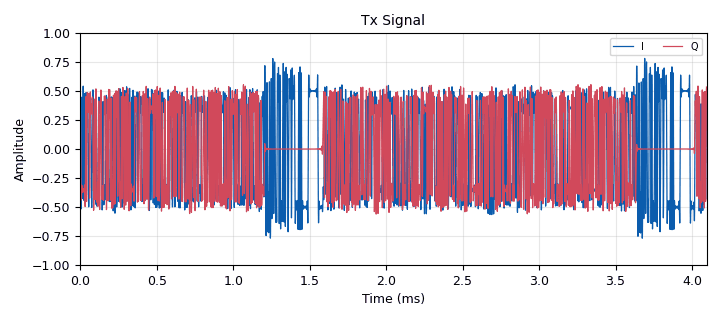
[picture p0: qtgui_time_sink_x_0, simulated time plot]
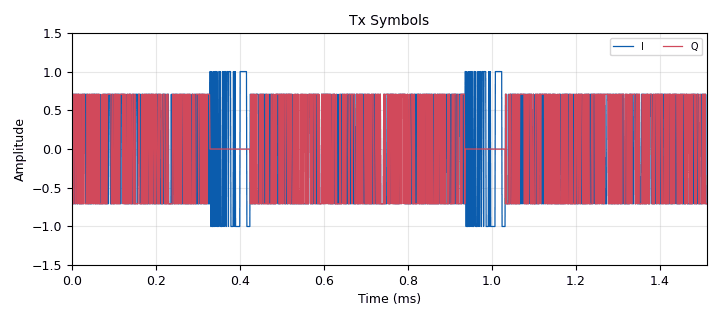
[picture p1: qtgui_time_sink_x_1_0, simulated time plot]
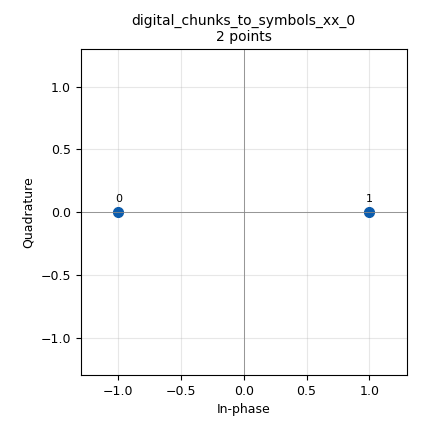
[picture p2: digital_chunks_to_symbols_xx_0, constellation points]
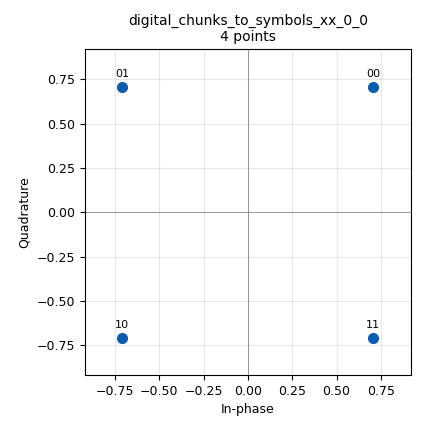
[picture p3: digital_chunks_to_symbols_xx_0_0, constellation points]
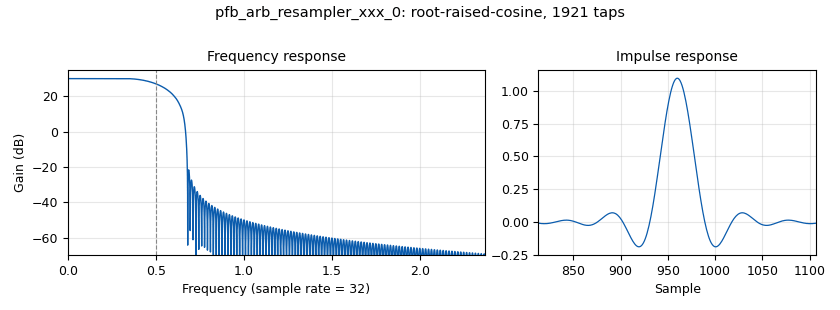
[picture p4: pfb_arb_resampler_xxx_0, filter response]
options:
  parameters:
    category: Custom
    generate_options: qt_gui
    id: Tx_Base
    output_language: python
    title: Tx_Base
  states: {}

blocks:
- name: d
  id: variable
  parameters:
    value: 1/(2**(1/2))
  states: {}
- name: eb
  id: variable
  parameters:
    value: '0.35'
  states: {}
- name: filt_delay
  id: variable
  parameters:
    value: int(1+(taps_per_filt-1)//2)
  states: {}
- name: freq
  id: variable
  parameters:
    value: 800e6
  states: {}
- name: freq_offset
  id: variable_qtgui_range
  parameters:
    gui_hint: 'controls@0: 1,1,1,1'
    label: Frequency Offset
    start: '-0.1'
    step: '0.001'
    stop: '0.1'
    value: '0'
  states: {}
- name: gain_tx
  id: variable
  parameters:
    value: '30'
  states: {}
- name: nfilts
  id: variable
  parameters:
    value: '32'
  states: {}
- name: noise_volt
  id: variable_qtgui_range
  parameters:
    gui_hint: 'controls@0: 1,0,1,1'
    label: Noise Voltage
    start: '0'
    step: '0.01'
    stop: '2'
    value: '0'
  states: {}
- name: pld_const
  id: variable_constellation_rect
  parameters:
    const_points: '[d+d*1j, -d+d*1j,-d-d*1j, d-d*1j]'
    imag_sect: '2'
    real_sect: '2'
    rot_sym: '4'
    sym_map: '[0, 1, 3, 2]'
    w_imag_sect: '1'
    w_real_sect: '1'
  states: {}
- name: psf_taps
  id: variable_rrc_filter_taps
  parameters:
    alpha: eb
    gain: nfilts
    ntaps: 15*sps*nfilts
    samp_rate: nfilts
    sym_rate: '1.0'
  states: {}
- name: samp_rate
  id: variable
  parameters:
    value: 1e6
  states: {}
- name: sps
  id: variable
  parameters:
    value: '4'
  states: {}
- name: taps
  id: variable
  parameters:
    value: '[0.9,0,0,0,0.436]'
  states: {}
- name: taps_per_filt
  id: variable
  parameters:
    value: int(len(psf_taps)/nfilts)
  states: {}
- name: analog_random_source_x_0
  id: analog_random_source_x
  parameters:
    max: '256'
    min: '0'
    num_samps: '10000000'
    repeat: 'True'
    type: byte
  states: {}
- name: blocks_multiply_const_vxx_0
  id: blocks_multiply_const_vxx
  parameters:
    const: '0.5'
    type: complex
  states: {}
- name: blocks_repack_bits_bb_0
  id: blocks_repack_bits_bb
  parameters:
    endianness: gr.GR_MSB_FIRST
    k: '8'
    l: hdr_const.bits_per_symbol()
    len_tag_key: packet_len
  states: {}
- name: blocks_repack_bits_bb_0_0
  id: blocks_repack_bits_bb
  parameters:
    endianness: gr.GR_MSB_FIRST
    k: '8'
    l: pld_const.bits_per_symbol()
    len_tag_key: packet_len
  states: {}
- name: blocks_stream_to_tagged_stream_0
  id: blocks_stream_to_tagged_stream
  parameters:
    len_tag_key: '"packet_len"'
    packet_len: '124'
    type: byte
  states: {}
- name: blocks_tagged_stream_multiply_length_0
  id: blocks_tagged_stream_multiply_length
  parameters:
    c: sps
    lengthtagname: packet_len
    type: complex
  states: {}
- name: blocks_tagged_stream_mux_0
  id: blocks_tagged_stream_mux
  parameters:
    lengthtagname: packet_len
    ninputs: '2'
    type: complex
  states: {}
- name: channels_channel_model_0
  id: channels_channel_model
  parameters:
    epsilon: '1'
    freq_offset: freq_offset
    noise_voltage: noise_volt
    seed: '0'
    taps: '1'
  states: {}
- name: controls
  id: qtgui_tab_widget
  parameters:
    gui_hint: 0,0,1,2
    label0: TX
    num_tabs: '1'
  states: {}
- name: digital_chunks_to_symbols_xx_0
  id: digital_chunks_to_symbols_xx
  parameters:
    dimension: '1'
    in_type: byte
    out_type: complex
    symbol_table: hdr_const.points()
  states: {}
- name: digital_chunks_to_symbols_xx_0_0
  id: digital_chunks_to_symbols_xx
  parameters:
    dimension: '1'
    in_type: byte
    out_type: complex
    symbol_table: pld_const.points()
  states: {}
- name: digital_crc32_bb_0
  id: digital_crc32_bb
  parameters:
    check: 'False'
    lengthtagname: '"packet_len"'
    packed: 'True'
  states: {}
- name: digital_diff_encoder_bb_0
  id: digital_diff_encoder_bb
  parameters:
    modulus: len(hdr_const.points())
  states: {}
- name: digital_diff_encoder_bb_0_0
  id: digital_diff_encoder_bb
  parameters:
    modulus: len(pld_const.points())
  states: {}
- name: digital_protocol_formatter_bb_0
  id: digital_protocol_formatter_bb
  parameters:
    format: hdr_format
    len_tag_key: '"packet_len"'
  states: {}
- name: hdr_const
  id: parameter
  parameters:
    label: Header constellation
    value: digital.constellation_calcdist((digital.psk_2()[0]), (digital.psk_2()[1]), 2, 1).base()
  states: {}
- name: hdr_format
  id: parameter
  parameters:
    label: Header Formatter
    value: digital.header_format_default(digital.packet_utils.default_access_code, 0,2)
  states: {}
- name: pfb_arb_resampler_xxx_0
  id: pfb_arb_resampler_xxx
  parameters:
    atten: '100'
    nfilts: nfilts
    rrate: sps
    samp_delay: filt_delay
    taps: psf_taps
    type: ccf
  states: {}
- name: qtgui_time_sink_x_0
  id: qtgui_time_sink_x
  parameters:
    grid: 'True'
    gui_hint: 1,1,1,1
    label1: I
    label2: Q
    name: '"Tx Signal"'
    size: 1024*4
    srate: 1e6
    type: complex
  states: {}
- name: qtgui_time_sink_x_1_0
  id: qtgui_time_sink_x
  parameters:
    grid: 'True'
    gui_hint: 1,0,1,1
    label1: I
    label2: Q
    name: '"Tx Symbols"'
    size: '1512'
    srate: samp_rate
    type: complex
    ymax: '1.5'
    ymin: '-1.5'
  states: {}
- name: uhd_usrp_sink_0
  id: uhd_usrp_sink
  parameters:
    ant0: '"TX/RX"'
    center_freq0: freq
    clock_rate: '0.0'
    dev_addr: '"serial=30F9A69"'
    dev_args: '""'
    gain0: gain_tx
    len_tag_name: ''
    samp_rate: samp_rate
    sync: sync
    type: fc32
  states: {}
- name: virtual_sink_0
  id: virtual_sink
  parameters:
    stream_id: Header Bytes
  states: {}
- name: virtual_sink_0_0_0
  id: virtual_sink
  parameters:
    stream_id: Payload Bytes
  states: {}
- name: virtual_sink_0_1
  id: virtual_sink
  parameters:
    stream_id: Tx Symbols
  states: {}
- name: virtual_source_0
  id: virtual_source
  parameters:
    stream_id: Header Bytes
  states: {}
- name: virtual_source_0_0
  id: virtual_source
  parameters:
    stream_id: Payload Bytes
  states: {}
- name: virtual_source_0_1
  id: virtual_source
  parameters:
    stream_id: Tx Symbols
  states: {}

connections:
- [analog_random_source_x_0, '0', blocks_stream_to_tagged_stream_0, '0']
- [blocks_multiply_const_vxx_0, '0', qtgui_time_sink_x_0, '0']
- [blocks_multiply_const_vxx_0, '0', uhd_usrp_sink_0, '0']
- [blocks_repack_bits_bb_0, '0', digital_diff_encoder_bb_0, '0']
- [blocks_repack_bits_bb_0_0, '0', digital_diff_encoder_bb_0_0, '0']
- [blocks_stream_to_tagged_stream_0, '0', digital_crc32_bb_0, '0']
- [blocks_tagged_stream_multiply_length_0, '0', channels_channel_model_0, '0']
- [blocks_tagged_stream_mux_0, '0', qtgui_time_sink_x_1_0, '0']
- [blocks_tagged_stream_mux_0, '0', virtual_sink_0_1, '0']
- [channels_channel_model_0, '0', blocks_multiply_const_vxx_0, '0']
- [digital_chunks_to_symbols_xx_0, '0', blocks_tagged_stream_mux_0, '0']
- [digital_chunks_to_symbols_xx_0_0, '0', blocks_tagged_stream_mux_0, '1']
- [digital_crc32_bb_0, '0', digital_protocol_formatter_bb_0, '0']
- [digital_crc32_bb_0, '0', virtual_sink_0_0_0, '0']
- [digital_diff_encoder_bb_0, '0', digital_chunks_to_symbols_xx_0, '0']
- [digital_diff_encoder_bb_0_0, '0', digital_chunks_to_symbols_xx_0_0, '0']
- [digital_protocol_formatter_bb_0, '0', virtual_sink_0, '0']
- [pfb_arb_resampler_xxx_0, '0', blocks_tagged_stream_multiply_length_0, '0']
- [virtual_source_0, '0', blocks_repack_bits_bb_0, '0']
- [virtual_source_0_0, '0', blocks_repack_bits_bb_0_0, '0']
- [virtual_source_0_1, '0', pfb_arb_resampler_xxx_0, '0']

metadata:
  file_format: 1
